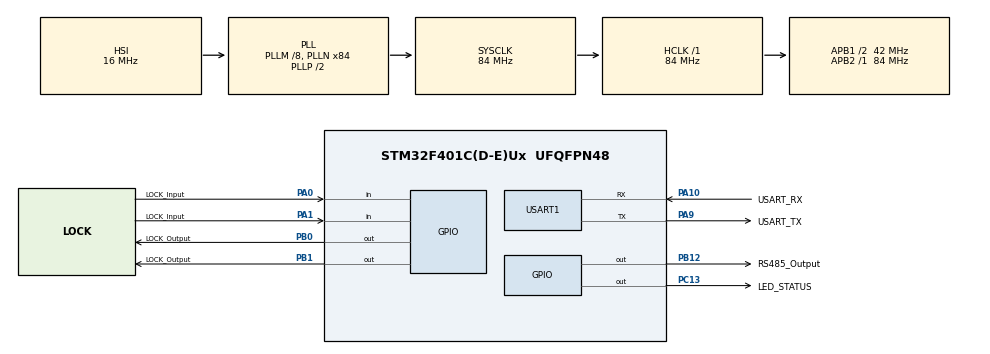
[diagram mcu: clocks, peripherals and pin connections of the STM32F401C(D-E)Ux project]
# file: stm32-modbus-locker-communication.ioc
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Dma.Request0=USART1_RX
Dma.Request1=USART1_TX
Dma.USART1_RX.0.Direction=DMA_PERIPH_TO_MEMORY
Dma.USART1_RX.0.FIFOMode=DMA_FIFOMODE_DISABLE
Dma.USART1_RX.0.Instance=DMA2_Stream2
Dma.USART1_RX.0.MemDataAlignment=DMA_MDATAALIGN_BYTE
Dma.USART1_RX.0.MemInc=DMA_MINC_ENABLE
Dma.USART1_RX.0.Mode=DMA_NORMAL
Dma.USART1_RX.0.PeriphDataAlignment=DMA_PDATAALIGN_BYTE
Dma.USART1_RX.0.PeriphInc=DMA_PINC_DISABLE
Dma.USART1_RX.0.Priority=DMA_PRIORITY_MEDIUM
Dma.USART1_TX.1.Direction=DMA_MEMORY_TO_PERIPH
Dma.USART1_TX.1.FIFOMode=DMA_FIFOMODE_DISABLE
Dma.USART1_TX.1.Instance=DMA2_Stream7
Dma.USART1_TX.1.MemDataAlignment=DMA_MDATAALIGN_BYTE
Dma.USART1_TX.1.MemInc=DMA_MINC_ENABLE
Dma.USART1_TX.1.Mode=DMA_NORMAL
Dma.USART1_TX.1.PeriphDataAlignment=DMA_PDATAALIGN_BYTE
Dma.USART1_TX.1.PeriphInc=DMA_PINC_DISABLE
Dma.USART1_TX.1.Priority=DMA_PRIORITY_MEDIUM
FREERTOS.Tasks01=ModbusTask,32,128,ModbusRTU,Default,NULL,Dynamic,NULL,NULL;LocksTask,32,128,TaskLocks,Default,NULL,Dynamic,NULL,NULL
Mcu.Family=STM32F4
Mcu.Name=STM32F401C(D-E)Ux
Mcu.Package=UFQFPN48
NVIC.DMA2_Stream2_IRQn=true\:5\:0\:false\:false\:true\:true\:false\:true\:true
NVIC.DMA2_Stream7_IRQn=true\:5\:0\:false\:false\:true\:true\:false\:true\:true
NVIC.PriorityGroup=NVIC_PRIORITYGROUP_4
NVIC.TIM1_TRG_COM_TIM11_IRQn=true\:15\:0\:false\:false\:true\:false\:false\:true\:true
NVIC.TIM2_IRQn=true\:5\:0\:false\:false\:true\:true\:true\:true\:true
NVIC.TimeBase=TIM1_TRG_COM_TIM11_IRQn
NVIC.TimeBaseIP=TIM11
NVIC.USART1_IRQn=true\:5\:0\:false\:false\:true\:true\:true\:true\:true
PA0-WKUP.GPIO_Label=LOCK_Input
PA0-WKUP.GPIO_PuPd=GPIO_PULLUP
PA0-WKUP.Signal=GPIO_Input
PA1.GPIO_Label=LOCK_Input
PA1.GPIO_PuPd=GPIO_PULLUP
PA1.Signal=GPIO_Input
PA10.GPIO_Label=USART_RX
PA10.Mode=Asynchronous
PA10.Signal=USART1_RX
PA13.Mode=Serial_Wire
PA13.Signal=SYS_JTMS-SWDIO
PA14.Mode=Serial_Wire
PA14.Signal=SYS_JTCK-SWCLK
PA9.GPIO_Label=USART_TX
PA9.Mode=Asynchronous
PA9.Signal=USART1_TX
PB0.GPIO_Label=LOCK_Output
PB0.GPIO_PuPd=GPIO_NOPULL
PB0.PinState=GPIO_PIN_SET
PB0.Signal=GPIO_Output
PB1.GPIO_Label=LOCK_Output
PB1.GPIO_PuPd=GPIO_NOPULL
PB1.PinState=GPIO_PIN_RESET
PB1.Signal=GPIO_Output
PB12.GPIO_Label=RS485_Output
PB12.GPIO_PuPd=GPIO_PULLUP
PB12.Signal=GPIO_Output
PC13-ANTI_TAMP.GPIO_Label=LED_STATUS
PC13-ANTI_TAMP.Signal=GPIO_Output
PH0\ -\ OSC_IN.Mode=HSE-External-Oscillator
PH0\ -\ OSC_IN.Signal=RCC_OSC_IN
PH1\ -\ OSC_OUT.Mode=HSE-External-Oscillator
PH1\ -\ OSC_OUT.Signal=RCC_OSC_OUT
ProjectManager.HeapSize=0x200
ProjectManager.StackSize=0x400
ProjectManager.TargetToolchain=CMake
RCC.48MHZClocksFreq_Value=42000000
RCC.AHBFreq_Value=84000000
RCC.APB1CLKDivider=RCC_HCLK_DIV2
RCC.APB1Freq_Value=42000000
RCC.APB1TimFreq_Value=84000000
RCC.APB2Freq_Value=84000000
RCC.APB2TimFreq_Value=84000000
RCC.CortexFreq_Value=84000000
RCC.HCLKFreq_Value=84000000
RCC.HSE_VALUE=26000000
RCC.HSI_VALUE=16000000
RCC.LSE_VALUE=32768
RCC.PLLM=8
RCC.PLLN=84
RCC.SYSCLKFreq_VALUE=84000000
RCC.SYSCLKSource=RCC_SYSCLKSOURCE_PLLCLK
RCC.VCOOutputFreq_Value=168000000
TIM2.CounterMode=TIM_COUNTERMODE_UP
TIM2.Prescaler=50
USART1.Parity=PARITY_NONE
USART1.VirtualMode=VM_ASYNC
VP_FREERTOS_VS_CMSIS_V2.Mode=CMSIS_V2
VP_SYS_VS_tim11.Mode=TIM11
VP_TIM2_VS_ClockSourceINT.Mode=Internal
board=custom

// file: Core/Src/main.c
/* USER CODE BEGIN Header */
/**
  ******************************************************************************
  * @file           : main.c
  * @brief          : Main program body
  ******************************************************************************
  * @attention
  *
  * Copyright (c) 2026 STMicroelectronics.
  * All rights reserved.
  *
  * This software is licensed under terms that can be found in the LICENSE file
  * in the root directory of this software component.
  * If no LICENSE file comes with this software, it is provided AS-IS.
  *
  ******************************************************************************
  */
/* USER CODE END Header */
#include "main.h"
#include "cmsis_os.h"

/* USER CODE BEGIN Includes */
#include "Modbus.h"
#include "stm32f4xx_hal_gpio.h"

/* USER CODE END Includes */

/* USER CODE BEGIN PM */
#define MODBUS_REGISTERS_COUNT 10

/* USER CODE END PM */

TIM_HandleTypeDef htim2;

UART_HandleTypeDef huart1;
DMA_HandleTypeDef hdma_usart1_rx;
DMA_HandleTypeDef hdma_usart1_tx;

/* Definitions for ModbusTask */
osThreadId_t ModbusTaskHandle;
const osThreadAttr_t ModbusTask_attributes = {
  .name = "ModbusTask",
  .stack_size = 128 * 4,
  .priority = (osPriority_t) osPriorityAboveNormal,
};
/* Definitions for LocksTask */
osThreadId_t LocksTaskHandle;
const osThreadAttr_t LocksTask_attributes = {
  .name = "LocksTask",
  .stack_size = 128 * 4,
  .priority = (osPriority_t) osPriorityAboveNormal,
};
/* USER CODE BEGIN PV */

uint16_t modbus_registers[MODBUS_REGISTERS_COUNT] = {0};

// Contains all configuration params (baud rate, parity stop, bits)
extern UART_HandleTypeDef huart1;

// Initialize modbus variable that contains all required operations
modbusHandler_t ModbusHandler;

/* USER CODE END PV */

void SystemClock_Config(void);
static void MX_GPIO_Init(void);
static void MX_DMA_Init(void);
static void MX_USART1_UART_Init(void);
static void MX_TIM2_Init(void);
void ModbusRTU(void *argument);
void TaskLocks(void *argument);

int main(void)
{

  /* MCU Configuration--------------------------------------------------------*/

  /* Reset of all peripherals, Initializes the Flash interface and the Systick. */
  HAL_Init();

  /* Configure the system clock */
  SystemClock_Config();

  /* Initialize all configured peripherals */
  MX_GPIO_Init();
  MX_DMA_Init();
  MX_USART1_UART_Init();
  MX_TIM2_Init();

  /* Init scheduler */
  osKernelInitialize();

  /* Create the thread(s) */
  /* creation of ModbusTask */
  ModbusTaskHandle = osThreadNew(ModbusRTU, NULL, &ModbusTask_attributes);

  /* creation of LocksTask */
  LocksTaskHandle = osThreadNew(TaskLocks, NULL, &LocksTask_attributes);

  /* Start scheduler */
  osKernelStart();

  /* We should never get here as control is now taken by the scheduler */

  /* Infinite loop */
  while (1)
  {

  }
}

void SystemClock_Config(void)
{
  RCC_OscInitTypeDef RCC_OscInitStruct = {0};
  RCC_ClkInitTypeDef RCC_ClkInitStruct = {0};

  /** Configure the main internal regulator output voltage
  */
  __HAL_RCC_PWR_CLK_ENABLE();
  __HAL_PWR_VOLTAGESCALING_CONFIG(PWR_REGULATOR_VOLTAGE_SCALE2);

  /** Initializes the RCC Oscillators according to the specified parameters
  * in the RCC_OscInitTypeDef structure.
  */
  RCC_OscInitStruct.OscillatorType = RCC_OSCILLATORTYPE_HSI;
  RCC_OscInitStruct.HSIState = RCC_HSI_ON;
  RCC_OscInitStruct.HSICalibrationValue = RCC_HSICALIBRATION_DEFAULT;
  RCC_OscInitStruct.PLL.PLLState = RCC_PLL_ON;
  RCC_OscInitStruct.PLL.PLLSource = RCC_PLLSOURCE_HSI;
  RCC_OscInitStruct.PLL.PLLM = 8;
  RCC_OscInitStruct.PLL.PLLN = 84;
  RCC_OscInitStruct.PLL.PLLP = RCC_PLLP_DIV2;
  RCC_OscInitStruct.PLL.PLLQ = 4;
  if (HAL_RCC_OscConfig(&RCC_OscInitStruct) != HAL_OK)
  {
    Error_Handler();
  }

  /** Initializes the CPU, AHB and APB buses clocks
  */
  RCC_ClkInitStruct.ClockType = RCC_CLOCKTYPE_HCLK|RCC_CLOCKTYPE_SYSCLK
                              |RCC_CLOCKTYPE_PCLK1|RCC_CLOCKTYPE_PCLK2;
  RCC_ClkInitStruct.SYSCLKSource = RCC_SYSCLKSOURCE_PLLCLK;
  RCC_ClkInitStruct.AHBCLKDivider = RCC_SYSCLK_DIV1;
  RCC_ClkInitStruct.APB1CLKDivider = RCC_HCLK_DIV2;
  RCC_ClkInitStruct.APB2CLKDivider = RCC_HCLK_DIV1;

  if (HAL_RCC_ClockConfig(&RCC_ClkInitStruct, FLASH_LATENCY_2) != HAL_OK)
  {
    Error_Handler();
  }
}

static void MX_TIM2_Init(void)
{

  TIM_ClockConfigTypeDef sClockSourceConfig = {0};
  TIM_MasterConfigTypeDef sMasterConfig = {0};

  htim2.Instance = TIM2;
  htim2.Init.Prescaler = 50;
  htim2.Init.CounterMode = TIM_COUNTERMODE_UP;
  htim2.Init.Period = 4294967295;
  htim2.Init.ClockDivision = TIM_CLOCKDIVISION_DIV1;
  htim2.Init.AutoReloadPreload = TIM_AUTORELOAD_PRELOAD_DISABLE;
  if (HAL_TIM_Base_Init(&htim2) != HAL_OK)
  {
    Error_Handler();
  }
  sClockSourceConfig.ClockSource = TIM_CLOCKSOURCE_INTERNAL;
  if (HAL_TIM_ConfigClockSource(&htim2, &sClockSourceConfig) != HAL_OK)
  {
    Error_Handler();
  }
  sMasterConfig.MasterOutputTrigger = TIM_TRGO_RESET;
  sMasterConfig.MasterSlaveMode = TIM_MASTERSLAVEMODE_DISABLE;
  if (HAL_TIMEx_MasterConfigSynchronization(&htim2, &sMasterConfig) != HAL_OK)
  {
    Error_Handler();
  }

}

static void MX_USART1_UART_Init(void)
{

  huart1.Instance = USART1;
  huart1.Init.BaudRate = 115200;
  huart1.Init.WordLength = UART_WORDLENGTH_8B;
  huart1.Init.StopBits = UART_STOPBITS_1;
  huart1.Init.Parity = UART_PARITY_NONE;
  huart1.Init.Mode = UART_MODE_TX_RX;
  huart1.Init.HwFlowCtl = UART_HWCONTROL_NONE;
  huart1.Init.OverSampling = UART_OVERSAMPLING_16;
  if (HAL_UART_Init(&huart1) != HAL_OK)
  {
    Error_Handler();
  }

}

static void MX_DMA_Init(void)
{

  /* DMA controller clock enable */
  __HAL_RCC_DMA2_CLK_ENABLE();

  /* DMA interrupt init */
  /* DMA2_Stream2_IRQn interrupt configuration */
  HAL_NVIC_SetPriority(DMA2_Stream2_IRQn, 5, 0);
  HAL_NVIC_EnableIRQ(DMA2_Stream2_IRQn);
  /* DMA2_Stream7_IRQn interrupt configuration */
  HAL_NVIC_SetPriority(DMA2_Stream7_IRQn, 5, 0);
  HAL_NVIC_EnableIRQ(DMA2_Stream7_IRQn);

}

static void MX_GPIO_Init(void)
{
  GPIO_InitTypeDef GPIO_InitStruct = {0};

  /* GPIO Ports Clock Enable */
  __HAL_RCC_GPIOC_CLK_ENABLE();
  __HAL_RCC_GPIOH_CLK_ENABLE();
  __HAL_RCC_GPIOA_CLK_ENABLE();
  __HAL_RCC_GPIOB_CLK_ENABLE();

  /*Configure GPIO pin Output Level */
  HAL_GPIO_WritePin(LED_STATUS_GPIO_Port, LED_STATUS_Pin, GPIO_PIN_RESET);

  /*Configure GPIO pin Output Level */
  HAL_GPIO_WritePin(LOCK_Output_GPIO_Port, LOCK_Output_Pin, GPIO_PIN_SET);

  /*Configure GPIO pin Output Level */
  HAL_GPIO_WritePin(GPIOB, LOCK_OutputB1_Pin|RS485_Output_Pin, GPIO_PIN_RESET);

  /*Configure GPIO pin : LED_STATUS_Pin */
  GPIO_InitStruct.Pin = LED_STATUS_Pin;
  GPIO_InitStruct.Mode = GPIO_MODE_OUTPUT_PP;
  GPIO_InitStruct.Pull = GPIO_NOPULL;
  GPIO_InitStruct.Speed = GPIO_SPEED_FREQ_LOW;
  HAL_GPIO_Init(LED_STATUS_GPIO_Port, &GPIO_InitStruct);

  /*Configure GPIO pins : LOCK_Input_Pin LOCK_InputA1_Pin */
  GPIO_InitStruct.Pin = LOCK_Input_Pin|LOCK_InputA1_Pin;
  GPIO_InitStruct.Mode = GPIO_MODE_INPUT;
  GPIO_InitStruct.Pull = GPIO_PULLUP;
  HAL_GPIO_Init(GPIOA, &GPIO_InitStruct);

  /*Configure GPIO pins : LOCK_Output_Pin LOCK_OutputB1_Pin */
  GPIO_InitStruct.Pin = LOCK_Output_Pin|LOCK_OutputB1_Pin;
  GPIO_InitStruct.Mode = GPIO_MODE_OUTPUT_PP;
  GPIO_InitStruct.Pull = GPIO_NOPULL;
  GPIO_InitStruct.Speed = GPIO_SPEED_FREQ_LOW;
  HAL_GPIO_Init(GPIOB, &GPIO_InitStruct);

  /*Configure GPIO pin : RS485_Output_Pin */
  GPIO_InitStruct.Pin = RS485_Output_Pin;
  GPIO_InitStruct.Mode = GPIO_MODE_OUTPUT_PP;
  GPIO_InitStruct.Pull = GPIO_PULLUP;
  GPIO_InitStruct.Speed = GPIO_SPEED_FREQ_LOW;
  HAL_GPIO_Init(RS485_Output_GPIO_Port, &GPIO_InitStruct);

}

void ModbusRTU(void *argument)
{
  /* USER CODE BEGIN 5 */

  // Configure Modbus Handler
  ModbusHandler.uModbusType = MB_SLAVE;
  ModbusHandler.port = &huart1;

  ModbusHandler.u8id = 2; // Set a Slave ID
  ModbusHandler.u16timeOut = 1000;

  // Setup RS485
  ModbusHandler.EN_Port = RS485_Output_GPIO_Port;
  ModbusHandler.EN_Pin = RS485_Output_Pin;

  // Setup Modbus Registers
  ModbusHandler.u16regs = modbus_registers;
  ModbusHandler.u16regsize = MODBUS_REGISTERS_COUNT;
  ModbusHandler.xTypeHW = USART_HW_DMA;

  // Initialize and Start
  ModbusInit(&ModbusHandler);
  ModbusStart(&ModbusHandler);

  /* Infinite loop */
  for(;;)
  {
    osDelay(1000);
  }
  /* USER CODE END 5 */
}

void TaskLocks(void *argument)
{
  /* USER CODE BEGIN TaskLocks */
  /* Infinite loop */
  for(;;)
  {
    if (modbus_registers[0] == 1)
    {
      HAL_GPIO_WritePin(LOCK_Output_GPIO_Port, LOCK_Output_Pin, GPIO_PIN_SET);

      // modbus_registers[0] = 0;
    }
    osDelay(100);
  }
  /* USER CODE END TaskLocks */
}

void HAL_TIM_PeriodElapsedCallback(TIM_HandleTypeDef *htim)
{
  if (htim->Instance == TIM11)
  {
    HAL_IncTick();
  }
}

void Error_Handler(void)
{
  __disable_irq();
  while (1)
  {
  }
}
